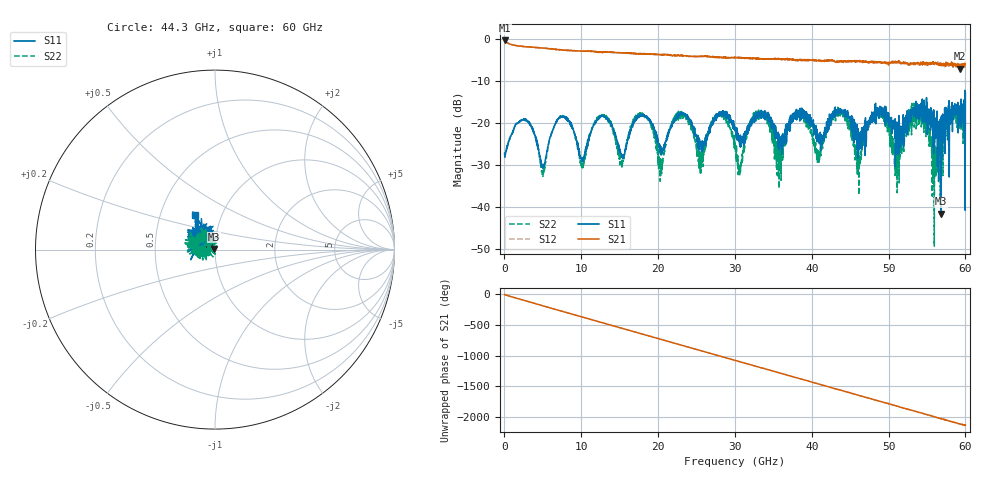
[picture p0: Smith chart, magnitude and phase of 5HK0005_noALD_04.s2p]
! File created by 'SoftPlot +Plus+ Measurement Management Software'
! SoftPlot +Plus+ Measurement Management Software
! Start 40.000000 MHz  Stop 60.000000 GHz  Points 1601
# MHZ S RI R 50
! S-Parameter data, F S11 S21 S12 S22
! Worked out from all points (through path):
!   1601 points, 40 MHz to 60 GHz, reference 50 ohm
!   highest |S21| = -0.38 dB at 40 MHz (marker M1); lowest = -7.1 dB at 59.25 GHz (marker M2)
!   group delay of S21, straight-line fit = 98.9 ps
!   lowest |S11| = -41.7 dB at 56.85 GHz (marker M3), VSWR 1.02, Z = 49.3 + j0.34 ohm
!   |S11| at or under -10 dB: start of sweep to end of sweep
!   |S22| runs from -49.4 to -15.2 dB; largest |S21 - S12| = 0.072
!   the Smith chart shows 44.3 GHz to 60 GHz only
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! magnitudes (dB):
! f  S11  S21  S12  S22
! 40 MHz  -27.2  -0.4  -0.4  -27.5
! 2.776 GHz  -19.1  -1.9  -1.9  -19.4
! 5.062 GHz  -30.8  -2.2  -2.2  -31.6
! 7.572 GHz  -18.6  -2.6  -2.6  -18.6
! 10.05 GHz  -28.8  -2.9  -2.9  -30.1
! 12.71 GHz  -18.4  -3.1  -3.2  -18.2
! 15.25 GHz  -27.9  -3.3  -3.3  -29.2
! 18.33 GHz  -18.3  -3.5  -3.6  -18.7
! 20.05 GHz  -25.2  -3.7  -3.8  -26.3
! 22.9 GHz  -17.8  -3.9  -4.0  -19.0
! 25.56 GHz  -25.3  -4.2  -4.2  -26.8
! 27.88 GHz  -17.7  -4.3  -4.4  -18.4
! 30.02 GHz  -21.3  -4.4  -4.4  -24.6
! 40.03 GHz  -20.1  -5.0  -5.2  -23.4
! 43.7 GHz  -17.5  -5.4  -5.6  -18.4
! 46.1 GHz  -22.1  -5.3  -5.5  -27.2
! 48.01 GHz  -19.5  -5.7  -5.7  -18.3
! 50.03 GHz  -18.0  -5.8  -5.7  -21.8
! 51.08 GHz  -19.8  -5.7  -5.7  -25.5
! 56.85 GHz  -41.7  -6.1  -5.8  -22.8
! 59.25 GHz  -18.7  -7.1  -6.4  -21.3
! 60 GHz  -13.0  -5.6  -6.0  -19.3
